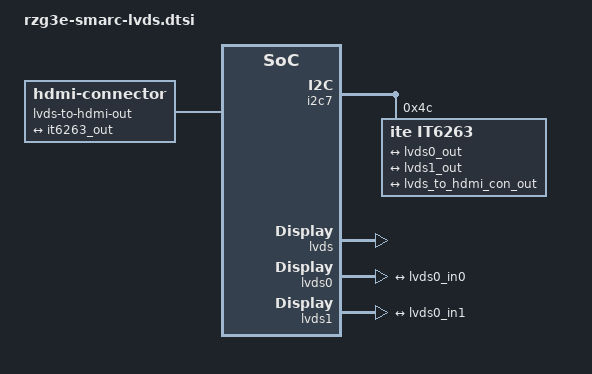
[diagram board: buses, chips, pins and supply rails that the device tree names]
// SPDX-License-Identifier: (GPL-2.0-only OR BSD-2-Clause)
/*
 * Device Tree Source for the dual LVDS to HDMI sub board,
 * connects to RZ/G3E Smarc Carrier.
 *
 * Copyright (C) 2024 Renesas Electronics Corp.
 */

/ {
	lvds-to-hdmi-out {
		compatible = "hdmi-connector";
		type = "d";

		port {
			lvds_to_hdmi_con_out: endpoint {
				remote-endpoint = <&it6263_out>;
			};
		};
	};
};

&i2c7 {
	it6263: it6263@4c {
		compatible = "ite,it6263";
		reg = <0x4c>;
		ite,dual-link;

		ports {
			#address-cells = <1>;
			#size-cells = <0>;

			port@0 {
				reg = <0>;
				dual-lvds-odd-pixels;
				lvds0_in0: endpoint@0 {
					remote-endpoint = <&lvds0_out>;
				};
			};

			port@1 {
				reg = <1>;
				dual-lvds-even-pixels;
				lvds0_in1: endpoint@1 {
					remote-endpoint = <&lvds1_out>;
				};
			};

			port@2 {
				reg = <2>;
				it6263_out: endpoint@2 {
					remote-endpoint = <&lvds_to_hdmi_con_out>;
				};
			};
		};
	};
};

&lvds {
	status = "okay";
};

&lvds0 {
	status = "okay";

	ports {
		port@1 {
			lvds0_out: endpoint {
				remote-endpoint = <&lvds0_in0>;
			};
		};
	};
};

&lvds1 {
	clocks = <&cpg CPG_MOD 416>,
		 <&cpg CPG_MOD 418>;

	status = "okay";

	ports {
		port@1 {
			lvds1_out: endpoint {
				remote-endpoint = <&lvds0_in1>;
			};
		};
	};
};
